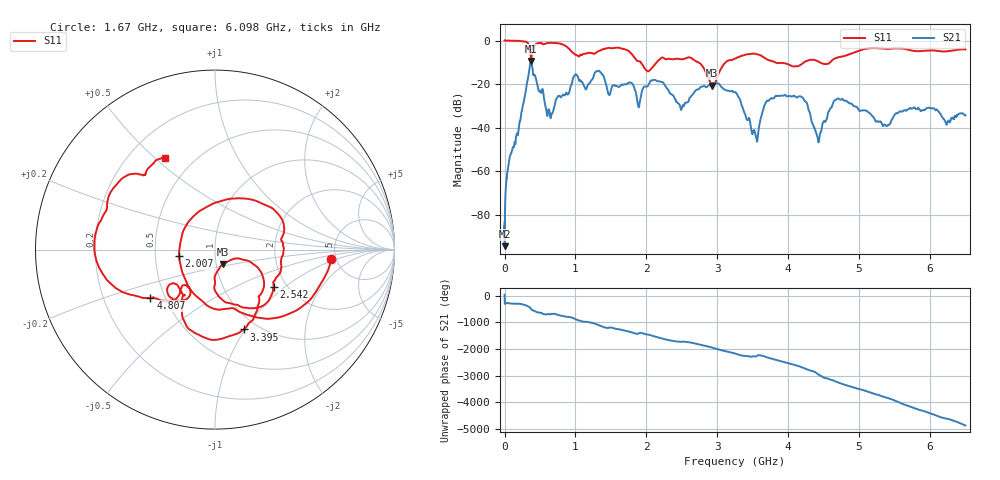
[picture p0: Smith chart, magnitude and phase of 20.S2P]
!Keysight Technologies,E5063A,MY54503115,A.05.08
!Date: Wed Nov 22 14:16:50 2023
!Data & Calibration Information:
!Freq	S11:NONE(--)	S21:NONE(--)	S12:NONE(--)	S22:NONE(--)
# Hz S dB R 50
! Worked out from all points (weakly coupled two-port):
!   10001 points, 100 kHz to 6.5 GHz, reference 50 ohm
!   highest |S21| = -9.31 dB at 371.9 MHz (marker M1); lowest = -94.3 dB at 1.4 MHz (marker M2)
!   lowest |S11| = -20.7 dB at 2.928 GHz (marker M3), VSWR 1.20, Z = 53.7 - j8.85 ohm
!   |S11| at or under -10 dB: 1.921 GHz to 2.143 GHz (221.6 MHz wide, 10.9 % of centre); 2.731 GHz to 3.118 GHz (386.8 MHz wide, 13.2 % of centre); 3.82 GHz to 4.223 GHz (403.7 MHz wide, 10 % of centre) (the widest 3 of 4)
!   S12 and S22 are empty: the file has one direction only
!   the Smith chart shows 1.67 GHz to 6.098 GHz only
!   S11 on the Smith chart (normalised r, x): 1.67 GHz: 4.55, -0.82; 2.007 GHz: 0.67, -0.05; 2.542 GHz: 1.71, -0.83; 3.395 GHz: 0.86, -0.99; 4.807 GHz: 0.42, -0.28; 6.098 GHz: 0.35, +0.54
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100000  0.05 -0.6  -83.34 47.1  -200.00 0.0  -200.00 0.0
1399980  -0.00 -0.8  -94.25 -139.9  -200.00 0.0  -200.00 0.0
2.308464e8  -0.23 -76.3  -34.52 55.0  -200.00 0.0  -200.00 0.0
3.718943e8  -8.66 -127.6  -9.31 -126.8  -200.00 0.0  -200.00 0.0
5.889909e8  -1.24 169.3  -31.86 18.9  -200.00 0.0  -200.00 0.0
7.378386e8  -1.22 95.1  -26.42 15.0  -200.00 0.0  -200.00 0.0
8.678366e8  -2.63 5.0  -23.92 -65.4  -200.00 0.0  -200.00 0.0
1.083633e9  -6.66 -159.4  -18.94 127.3  -200.00 0.0  -200.00 0.0
1.397578e9  -3.96 81.0  -16.33 -93.7  -200.00 0.0  -200.00 0.0
1.669924e9  -3.75 -4.6  -20.26 148.5  -200.00 0.0  -200.00 0.0
2.007269e9  -13.86 -170.0  -21.10 -10.6  -200.00 0.0  -200.00 0.0
2.167167e9  -9.14 52.3  -18.60 -123.6  -200.00 0.0  -200.00 0.0
2.541561e9  -8.27 -32.3  -28.85 73.5  -200.00 0.0  -200.00 0.0
2.927655e9  -20.70 -62.2  -19.46 -145.6  -200.00 0.0  -200.00 0.0
3.25005e9  -8.23 -51.1  -23.63 -5.9  -200.00 0.0  -200.00 0.0
3.394998e9  -6.50 -70.2  -33.93 -103.4  -200.00 0.0  -200.00 0.0
4.166536e9  -11.33 -120.3  -25.55 -137.3  -200.00 0.0  -200.00 0.0
4.333583e9  -8.83 -131.7  -37.45 59.4  -200.00 0.0  -200.00 0.0
4.806776e9  -6.95 -143.2  -27.66 -107.1  -200.00 0.0  -200.00 0.0
5.417117e9  -3.82 159.2  -38.74 109.8  -200.00 0.0  -200.00 0.0
6.097656e9  -4.67 118.7  -31.60 174.3  -200.00 0.0  -200.00 0.0
6.5e9  -4.06 104.4  -34.32 170.7  -200.00 0.0  -200.00 0.0
